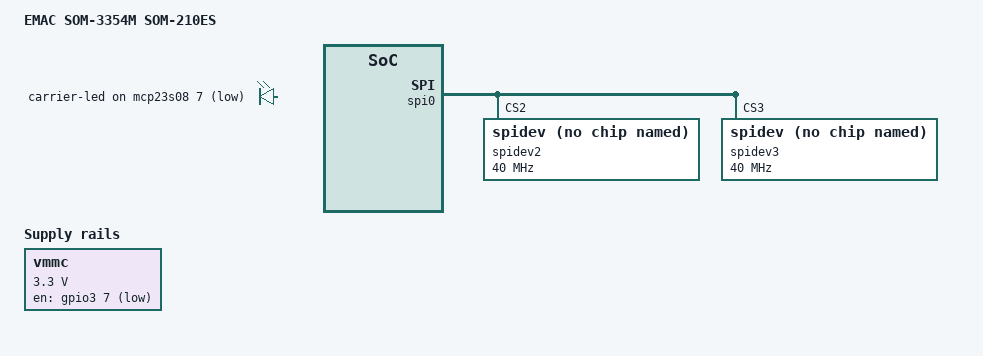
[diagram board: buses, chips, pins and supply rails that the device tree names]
/*
 * som-3354-210es.dts - Device Tree file for the SOM-3354M with SOM-210ES.
 *
 * Copyright (C) 2015 EMAC Inc.
 * Copyright (C) 2015 QWERTY Embedded Design
 *
 * This program is free software; you can redistribute it and/or modify
 * it under the terms of the GNU General Public License version 2 as
 * published by the Free Software Foundation.
 */

/dts-v1/;

#include "som-3354.dtsi"

/ {
	model = "EMAC SOM-3354M SOM-210ES";

	vmmc: fixedregulator@1 {
		pinctrl-names = "default";
		pinctrl-0 = <&vmmc_pins>;

		compatible = "regulator-fixed";
		regulator-name = "vmmc";
		regulator-min-microvolt = <3300000>;
		regulator-max-microvolt = <3300000>;
		gpio = <&gpio3 7 GPIO_ACTIVE_LOW>;
		regulator-boot-on;
	};

	leds {
		led@1 {
			label = "carrier-led";
			gpios = <&mcp23s08 7 GPIO_ACTIVE_LOW>;
			default-state = "on";
			linux,default-trigger = "mmc1";
		};
	};
};

&spi0 {
	spidev2: spidev@2 {
		compatible = "emac,spidev";
		reg = <2>;
		spi-max-frequency = <40000000>;
		status = "okay";
	};

	spidev3: spidev@3 {
		compatible = "emac,spidev";
		reg = <3>;
		spi-max-frequency = <40000000>;
		status = "okay";
	};
};
